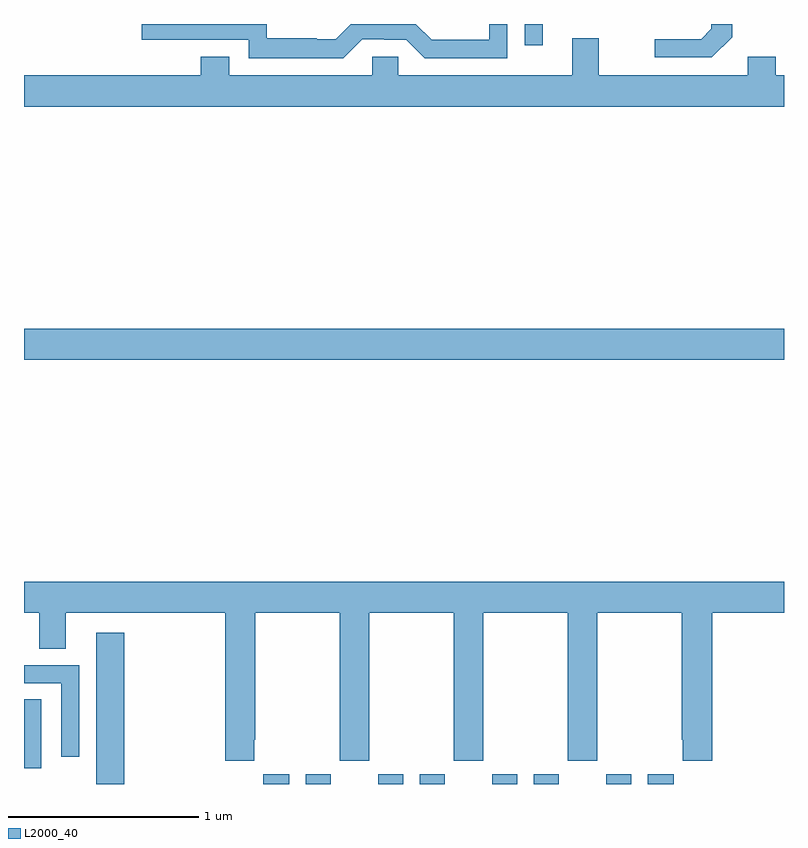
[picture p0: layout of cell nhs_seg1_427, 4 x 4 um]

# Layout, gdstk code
import gdstk
lib = gdstk.Library(unit=1e-6, precision=1e-09)
def R(c, l, rs):  # rectangles x0, y0, x1, y1
    for r in rs: c.add(gdstk.rectangle(r[:2], r[2:], *l))
def P(c, l, *ps):  # polygons
    for p in ps: c.add(gdstk.Polygon(p, *l))
L2000_40 = (2000, 40)

nhs_seg1_427 = lib.new_cell('nhs_seg1_427')
R(nhs_seg1_427, L2000_40, [(135.38,516.199,135.527,516.996), (136.259,516.199,136.396,516.25), (136.484,516.199,136.615,516.25), (136.865,516.199,136.996,516.25), (137.084,516.199,137.215,516.25), (137.465,516.199,137.596,516.25), (137.684,516.199,137.815,516.25), (138.065,516.199,138.196,516.25), (138.284,516.199,138.421,516.25), (135,516.282,135.091,516.644), (135,518.432,139,518.596), (137.635,520.086,137.731,520.199)])
P(nhs_seg1_427, L2000_40, [(136.779,520.119),(136.895,520.119),(136.895,520.116),(137.013,520.116),(137.109,520.02),(137.544,520.02),(137.544,520.199),(137.448,520.199),(137.448,520.116),(137.145,520.116),(137.062,520.199),(136.721,520.199),(136.641,520.119),(136.541,520.119),(136.541,520.123),(136.278,520.123),(136.278,520.199),(135.621,520.199),(135.621,520.116),(136.182,520.116),(136.182,520.019),(136.679,520.019)],
  [(138.727,520.129),(138.727,520.199),(138.618,520.199),(138.618,520.173),(138.564,520.119),(138.321,520.119),(138.321,520.023),(138.621,520.023)],
  [(139,519.928),(138.957,519.928),(138.957,520.027),(138.809,520.027),(138.809,519.928),(138.025,519.928),(138.025,520.123),(137.885,520.123),(137.885,519.928),(136.971,519.928),(136.971,520.026),(136.833,520.026),(136.833,519.928),(136.081,519.928),(136.081,520.027),(135.929,520.027),(135.929,519.928),(135,519.928),(135,519.764),(139,519.764)],
  [(136.213,516.433),(136.218,516.433),(136.218,517.1),(136.663,517.1),(136.663,516.321),(136.818,516.321),(136.818,517.1),(137.263,517.1),(137.263,516.321),(137.418,516.321),(137.418,517.1),(137.863,517.1),(137.863,516.321),(138.018,516.321),(138.018,517.1),(138.463,517.1),(138.463,516.433),(138.467,516.433),(138.467,516.321),(138.623,516.321),(138.623,517.1),(139,517.1),(139,517.264),(135,517.264),(135,517.1),(135.08,517.1),(135.08,516.91),(135.22,516.91),(135.22,517.1),(136.058,517.1),(136.058,516.321),(136.213,516.321)],
  [(135.291,516.825),(135,516.825),(135,516.729),(135.195,516.729),(135.195,516.342),(135.291,516.342)])

lib.write_gds('nhs_seg1_427.gds')
